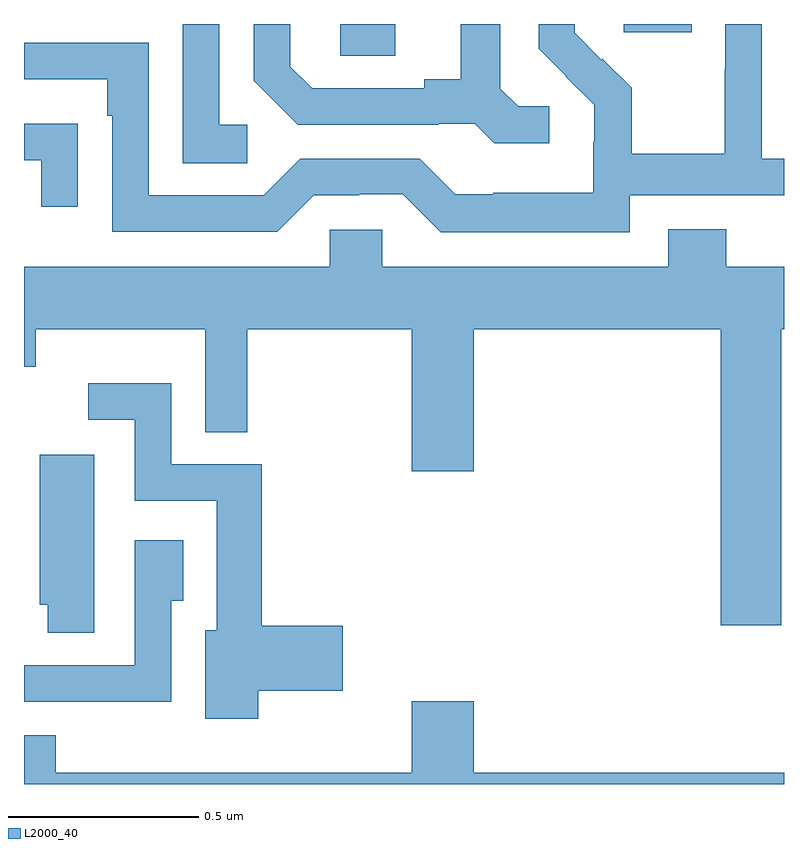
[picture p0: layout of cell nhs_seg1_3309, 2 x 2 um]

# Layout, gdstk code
import gdstk
lib = gdstk.Library(unit=1e-6, precision=1e-09)
def R(c, l, rs):  # rectangles x0, y0, x1, y1
    for r in rs: c.add(gdstk.rectangle(r[:2], r[2:], *l))
def P(c, l, *ps):  # polygons
    for p in ps: c.add(gdstk.Polygon(p, *l))
L2000_40 = (2000, 40)

nhs_seg1_3309 = lib.new_cell('nhs_seg1_3309')
R(nhs_seg1_3309, L2000_40, [(152.832,555.115,152.977,555.199), (153.578,555.177,153.757,555.199)])
P(nhs_seg1_3309, L2000_40, [(153.594,554.748),(154,554.748),(154,554.844),(153.942,554.844),(153.942,555.199),(153.846,555.199),(153.846,555.08),(153.844,555.08),(153.844,554.857),(153.599,554.857),(153.599,555.031),(153.522,555.108),(153.519,555.105),(153.449,555.176),(153.449,555.199),(153.354,555.199),(153.354,555.134),(153.427,555.061),(153.426,555.06),(153.5,554.986),(153.5,554.889),(153.498,554.889),(153.498,554.755),(153.235,554.755),(153.235,554.751),(153.135,554.751),(153.042,554.844),(152.727,554.844),(152.631,554.748),(152.328,554.748),(152.328,555.15),(152,555.15),(152,555.054),(152.219,555.054),(152.219,554.957),(152.232,554.957),(152.232,554.652),(152.667,554.652),(152.763,554.748),(152.882,554.748),(152.882,554.751),(152.997,554.751),(153.097,554.651),(153.594,554.651)],
  [(153.382,554.982),(153.3,554.982),(153.253,555.029),(153.253,555.199),(153.149,555.199),(153.149,555.053),(153.053,555.053),(153.053,555.03),(152.758,555.03),(152.701,555.087),(152.701,555.199),(152.604,555.199),(152.604,555.05),(152.72,554.934),(153.092,554.934),(153.092,554.937),(153.186,554.937),(153.238,554.885),(153.382,554.885)],
  [(152.587,554.934),(152.514,554.934),(152.514,555.199),(152.418,555.199),(152.418,554.833),(152.587,554.833)],
  [(152.141,554.936),(152.039,554.936),(152.039,554.937),(152,554.937),(152,554.841),(152.045,554.841),(152.045,554.718),(152.141,554.718)],
  [(153.993,554.396),(154,554.396),(154,554.56),(153.848,554.56),(153.848,554.659),(153.695,554.659),(153.695,554.56),(152.943,554.56),(152.943,554.658),(152.805,554.658),(152.805,554.56),(152,554.56),(152,554.297),(152.031,554.297),(152.031,554.396),(152.477,554.396),(152.477,554.125),(152.588,554.125),(152.588,554.396),(153.02,554.396),(153.02,554.022),(153.184,554.022),(153.184,554.396),(153.833,554.396),(153.833,553.617),(153.993,553.617)],
  [(152.616,553.445),(152.839,553.445),(152.839,553.616),(152.626,553.616),(152.626,554.04),(152.388,554.04),(152.388,554.254),(152.169,554.254),(152.169,554.157),(152.292,554.157),(152.292,553.944),(152.507,553.944),(152.507,553.603),(152.477,553.603),(152.477,553.371),(152.616,553.371)],
  [(152.185,554.065),(152.042,554.065),(152.042,553.671),(152.063,553.671),(152.063,553.597),(152.185,553.597)],
  [(152.388,553.681),(152.419,553.681),(152.419,553.84),(152.292,553.84),(152.292,553.512),(152,553.512),(152,553.416),(152.167,553.416),(152.167,553.415),(152.388,553.415)],
  [(154,553.228),(153.184,553.228),(153.184,553.417),(153.02,553.417),(153.02,553.228),(152.084,553.228),(152.084,553.327),(152,553.327),(152,553.199),(154,553.199)])

lib.write_gds('nhs_seg1_3309.gds')
